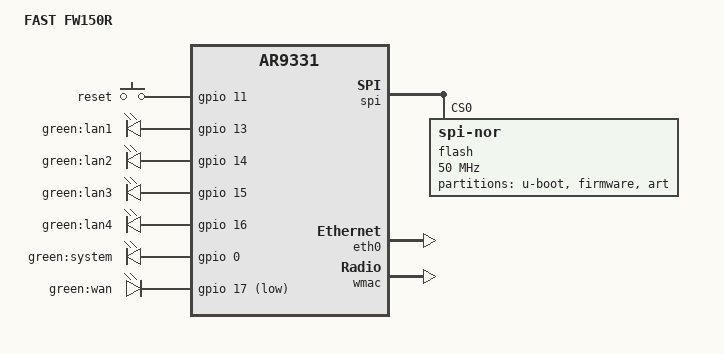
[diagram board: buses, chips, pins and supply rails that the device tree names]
// SPDX-License-Identifier: GPL-2.0-or-later OR MIT

#include "ar9331.dtsi"

#include <dt-bindings/gpio/gpio.h>
#include <dt-bindings/input/input.h>

/ {
	model = "FAST FW150R";
	compatible = "fast,fw150r", "qca,ar9331";

	aliases {
		led-boot = &led_system;
		led-failsafe = &led_system;
		led-running = &led_system;
		led-upgrade = &led_system;
		label-mac-device = &eth0;
	};

	keys {
		compatible = "gpio-keys";

		reset {
			label = "reset";
			linux,code = <KEY_RESTART>;
			gpios = <&gpio 11 GPIO_ACTIVE_HIGH>;
		};
	};

	leds {
		compatible = "gpio-leds";

		pinctrl-names = "default";
		pinctrl-0 = <&switch_led_disable_pins>;

		lan1 {
			label = "green:lan1";
			gpios = <&gpio 13 GPIO_ACTIVE_HIGH>;
		};

		lan2 {
			label = "green:lan2";
			gpios = <&gpio 14 GPIO_ACTIVE_HIGH>;
		};

		lan3 {
			label = "green:lan3";
			gpios = <&gpio 15 GPIO_ACTIVE_HIGH>;
		};

		lan4 {
			label = "green:lan4";
			gpios = <&gpio 16 GPIO_ACTIVE_HIGH>;
		};

		led_system: system {
			label = "green:system";
			gpios = <&gpio 0 GPIO_ACTIVE_HIGH>;
		};

		wan {
			label = "green:wan";
			gpios = <&gpio 17 GPIO_ACTIVE_LOW>;
		};
	};
};

&spi {
	status = "okay";

	flash@0 {
		compatible = "jedec,spi-nor";
		reg = <0>;
		spi-max-frequency = <50000000>;
		m25p,fast-read;

		partitions {
			compatible = "fixed-partitions";
			#address-cells = <1>;
			#size-cells = <1>;

			partition@0 {
				label = "u-boot";
				reg = <0x0 0x20000>;
			/*	read-only;	*/
			};

			partition@20000 {
				compatible = "denx,uimage";
				label = "firmware";
				reg = <0x20000 0x7d0000>;
			};

			art: partition@7f0000 {
				label = "art";
				reg = <0x7f0000 0x10000>;
			/*	read-only;	*/
	
				compatible = "nvmem-cells";
				#address-cells = <1>;
				#size-cells = <1>;

				macaddr_art_0: macaddr@0 {
					reg = <0x0 0x6>;
				};

				macaddr_art_8: macaddr@8 {
					reg = <0x8 0x6>;
				};
			};
		};
	};
};

&eth0 {
	status = "okay";

	nvmem-cells = <&macaddr_art_8>;
	nvmem-cell-names = "mac-address";
};

&eth1 {
	status = "okay";

	/* Workaround: keep the Ethernet interfaces order/mapping correct
	 * (GMAC0 -> eth0, GMAC1 -> eth1, same as in old ar71xx target) */
	compatible = "qca,ar9330-eth", "syscon", "simple-mfd";

	nvmem-cells = <&macaddr_art_0>;
	nvmem-cell-names = "mac-address";
};

&wmac {
	status = "okay";

	mtd-cal-data = <&art 0x1000>;

	nvmem-cells = <&macaddr_art_0>;
	nvmem-cell-names = "mac-address";
};
